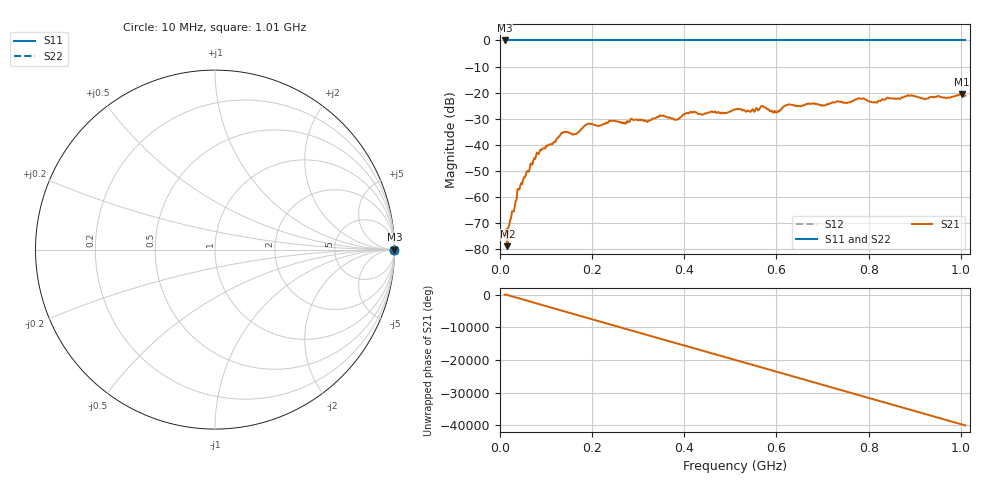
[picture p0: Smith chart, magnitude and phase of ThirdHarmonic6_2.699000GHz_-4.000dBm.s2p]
! 8/17/2025 6:26:58 AM
! C:\ANRITSUVNA\TEMP\TEMP.S2P
! CHANNEL.1
! TR.MEASUREMENT
! RAW.DATA
! RF.CORRECTION.OFF
! AVERAGING.OFF
! IF.BANDWIDTH: 5KHZ
! SWEEPTYPE:  FREQ.SWEEP(Linear)
! Reference Plane Port Info
! PORT:  PORT1  PORT2
! DISTANCE:  0  m  0  m
! TIME:  0  s  0  s
! PHASE.OFFSET:  0  deg.  0  deg.
! LOSS:  0  dB  0  dB
! REF.LOSS:  0  dB  0  dB
! REF.FREQ:  0  Hz  0  Hz
! Power Info
! POWER:  -20  dBm  -20  dBm
! EFF.POWER:  -20  dBm  -20  dBm
! SOURCE.ATTEN:  0  dB  0  dB
! TEST.ATTEN:  0  dB  0  dB
# GHZ S RI R 50.0
! FREQ.GHZ  S11RE  S11IM  S21RE  S21IM  S12RE  S12IM  S22RE  S22IM
!; PortSelection: Port_12
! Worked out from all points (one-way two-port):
!   501 points, 10 MHz to 1.01 GHz, reference 50 ohm
!   highest |S21| = -20.62 dB at 1.002 GHz (marker M1); lowest = -78.9 dB at 16 MHz (marker M2)
!   lowest |S11| = 0.0 dB at 10 MHz (marker M3)
!   |S11| at or under -10 dB: nowhere
!   |S22| runs from 0.0 to 0.0 dB; largest |S21 - S12| = 1.1
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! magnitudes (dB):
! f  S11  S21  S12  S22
! 10 MHz  0.0  -75.8  0.0  0.0
! 16 MHz  0.0  -78.9  0.0  0.0
! 42 MHz  0.0  -57.2  0.0  0.0
! 78 MHz  0.0  -44.4  0.0  0.0
! 136 MHz  0.0  -35.5  0.0  0.0
! 162 MHz  0.0  -36.0  0.0  0.0
! 178 MHz  0.0  -33.7  0.0  0.0
! 192 MHz  0.0  -31.9  0.0  0.0
! 322 MHz  0.0  -30.9  0.0  0.0
! 344 MHz  0.0  -29.4  0.0  0.0
! 382 MHz  0.0  -30.4  0.0  0.0
! 416 MHz  0.0  -27.7  0.0  0.0
! 510 MHz  0.0  -26.5  0.0  0.0
! 570 MHz  0.0  -25.2  0.0  0.0
! 598 MHz  0.0  -27.5  0.0  0.0
! 624 MHz  0.0  -24.6  0.0  0.0
! 678 MHz  0.0  -24.2  0.0  0.0
! 780 MHz  0.0  -22.2  0.0  0.0
! 814 MHz  0.0  -23.6  0.0  0.0
! 844 MHz  0.0  -22.1  0.0  0.0
! 1.002 GHz  0.0  -20.6  0.0  0.0
! 1.01 GHz  0.0  -21.2  0.0  0.0
